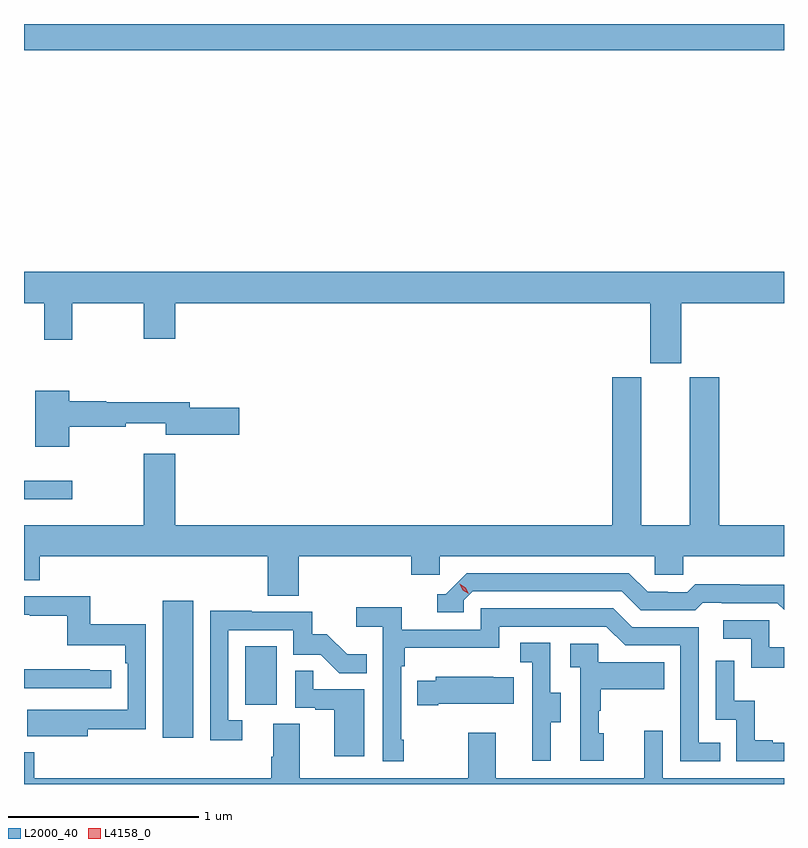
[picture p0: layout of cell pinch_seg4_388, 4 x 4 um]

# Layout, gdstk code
import gdstk
lib = gdstk.Library(unit=1e-6, precision=1e-09)
def R(c, l, rs):  # rectangles x0, y0, x1, y1
    for r in rs: c.add(gdstk.rectangle(r[:2], r[2:], *l))
def P(c, l, *ps):  # polygons
    for p in ps: c.add(gdstk.Polygon(p, *l))
L2000_40 = (2000, 40)
L4158_0 = (4158, 0)

pinch_seg4_388 = lib.new_cell('pinch_seg4_388')
R(pinch_seg4_388, L2000_40, [(980.291,779.88,980.452,780.601), (980.726,780.054,980.89,780.361), (979.561,781.136,979.816,781.233), (979.561,783.5,983.561,783.637)])
P(pinch_seg4_388, L2000_40, [(983.02,782.168),(983.561,782.168),(983.561,782.332),(979.561,782.332),(979.561,782.168),(979.667,782.168),(979.667,781.974),(979.815,781.974),(979.815,782.168),(980.192,782.168),(980.192,781.98),(980.356,781.98),(980.356,782.168),(982.856,782.168),(982.856,781.851),(983.02,781.851)],
  [(981.008,780.836),(981.599,780.836),(981.599,780.738),(981.75,780.738),(981.75,780.836),(982.881,780.836),(982.881,780.738),(983.031,780.738),(983.031,780.836),(983.561,780.836),(983.561,781),(983.219,781),(983.219,781.779),(983.066,781.779),(983.066,781),(982.81,781),(982.81,781.779),(982.658,781.779),(982.658,781),(980.356,781),(980.356,781.375),(980.192,781.375),(980.192,781),(979.561,781),(979.561,780.709),(979.643,780.709),(979.643,780.836),(980.843,780.836),(980.843,780.628),(981.008,780.628)],
  [(979.798,781.516),(980.096,781.516),(980.096,781.535),(980.306,781.535),(980.306,781.474),(980.695,781.474),(980.695,781.616),(980.434,781.616),(980.434,781.645),(979.994,781.645),(979.994,781.652),(979.798,781.652),(979.798,781.708),(979.619,781.708),(979.619,781.412),(979.798,781.412)],
  [(981.876,780.603),(981.924,780.651),(982.707,780.651),(982.806,780.552),(983.095,780.552),(983.134,780.591),(983.233,780.591),(983.233,780.588),(983.526,780.588),(983.561,780.553),(983.561,780.685),(983.328,780.685),(983.328,780.688),(983.095,780.688),(983.053,780.645),(982.95,780.645),(982.95,780.648),(982.843,780.648),(982.744,780.747),(981.891,780.747),(981.78,780.636),(981.737,780.636),(981.737,780.54),(981.876,780.54)],
  [(979.897,779.926),(980.202,779.926),(980.202,780.478),(979.909,780.478),(979.909,780.624),(979.561,780.624),(979.561,780.528),(979.591,780.528),(979.591,780.523),(979.788,780.523),(979.788,780.368),(980.093,780.368),(980.093,780.272),(980.106,780.272),(980.106,780.027),(979.793,780.027),(979.793,780.028),(979.579,780.028),(979.579,779.888),(979.897,779.888)],
  [(981.559,779.869),(981.546,779.869),(981.546,780.257),(981.566,780.257),(981.566,780.353),(982.062,780.353),(982.062,780.465),(982.626,780.465),(982.725,780.366),(983.016,780.366),(983.016,779.757),(983.225,779.757),(983.225,779.853),(983.112,779.853),(983.112,780.462),(982.762,780.462),(982.663,780.561),(981.966,780.561),(981.966,780.45),(981.548,780.45),(981.548,780.566),(981.309,780.566),(981.309,780.464),(981.45,780.464),(981.45,779.757),(981.559,779.757)],
  [(980.71,779.973),(980.637,779.973),(980.637,780.447),(980.979,780.447),(980.979,780.318),(981.123,780.318),(981.221,780.22),(981.365,780.22),(981.365,780.319),(981.261,780.319),(981.154,780.426),(981.078,780.426),(981.078,780.543),(980.759,780.543),(980.759,780.548),(980.541,780.548),(980.541,779.868),(980.71,779.868)],
  [(983.561,780.357),(983.484,780.357),(983.484,780.498),(983.241,780.498),(983.241,780.402),(983.388,780.402),(983.388,780.249),(983.561,780.249)],
  [(982.333,779.962),(982.387,779.962),(982.387,780.117),(982.332,780.117),(982.332,780.38),(982.173,780.38),(982.173,780.277),(982.236,780.277),(982.236,779.973),(982.235,779.973),(982.235,779.76),(982.333,779.76)],
  [(982.612,779.904),(982.587,779.904),(982.587,780.023),(982.597,780.023),(982.597,780.137),(982.931,780.137),(982.931,780.277),(982.584,780.277),(982.584,780.375),(982.437,780.375),(982.437,780.251),(982.488,780.251),(982.488,779.76),(982.612,779.76)],
  [(983.561,779.853),(983.503,779.853),(983.503,779.866),(983.408,779.866),(983.408,780.074),(983.298,780.074),(983.298,780.286),(983.202,780.286),(983.202,779.976),(983.31,779.976),(983.31,779.757),(983.561,779.757)],
  [(980.02,780.237),(979.907,780.237),(979.907,780.242),(979.561,780.242),(979.561,780.141),(980.02,780.141)],
  [(981.352,780.135),(981.083,780.135),(981.083,780.233),(980.988,780.233),(980.988,780.039),(981.095,780.039),(981.095,780.027),(981.194,780.027),(981.194,779.784),(981.352,779.784)],
  [(981.742,780.059),(982.139,780.059),(982.139,780.199),(982.031,780.199),(982.031,780.202),(981.729,780.202),(981.729,780.181),(981.631,780.181),(981.631,780.052),(981.742,780.052)],
  [(983.561,779.668),(982.923,779.668),(982.923,779.917),(982.826,779.917),(982.826,779.668),(982.045,779.668),(982.045,779.908),(981.898,779.908),(981.898,779.668),(981.013,779.668),(981.013,779.954),(980.873,779.954),(980.873,779.78),(980.861,779.78),(980.861,779.668),(979.616,779.668),(979.616,779.803),(979.561,779.803),(979.561,779.637),(983.561,779.637)])
P(pinch_seg4_388, L4158_0, [(981.901,780.638),(981.87,780.658),(981.854,780.69),(981.854,780.69),(981.855,780.69),(981.885,780.671),(981.901,780.638),(981.901,780.638)])

lib.write_gds('pinch_seg4_388.gds')
